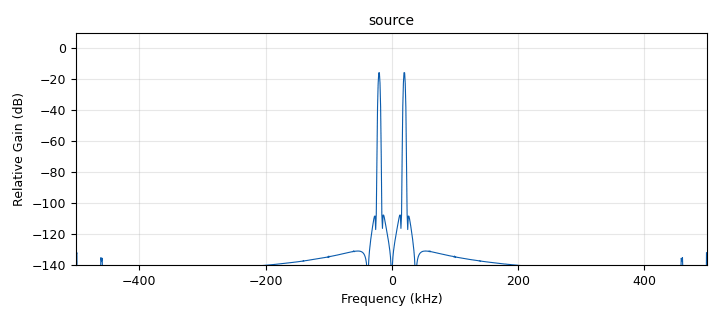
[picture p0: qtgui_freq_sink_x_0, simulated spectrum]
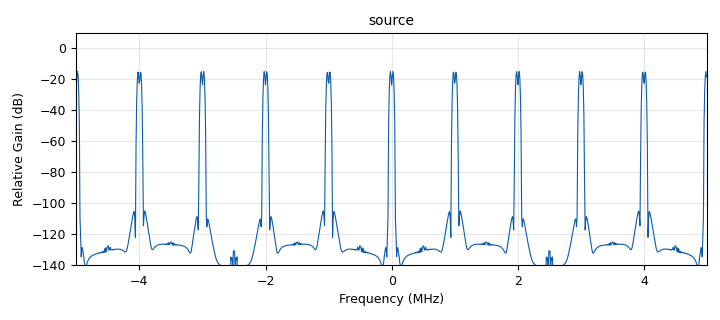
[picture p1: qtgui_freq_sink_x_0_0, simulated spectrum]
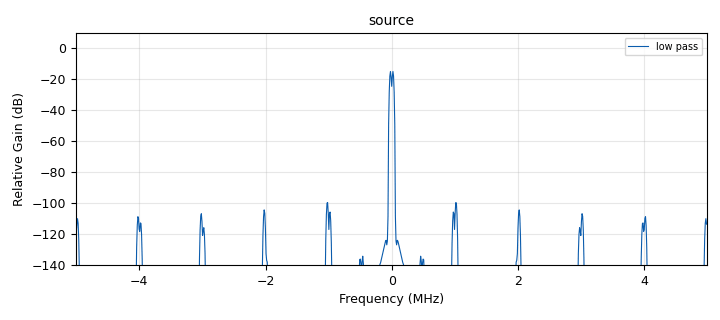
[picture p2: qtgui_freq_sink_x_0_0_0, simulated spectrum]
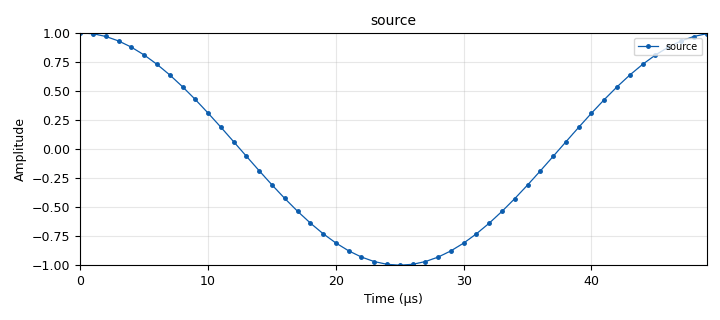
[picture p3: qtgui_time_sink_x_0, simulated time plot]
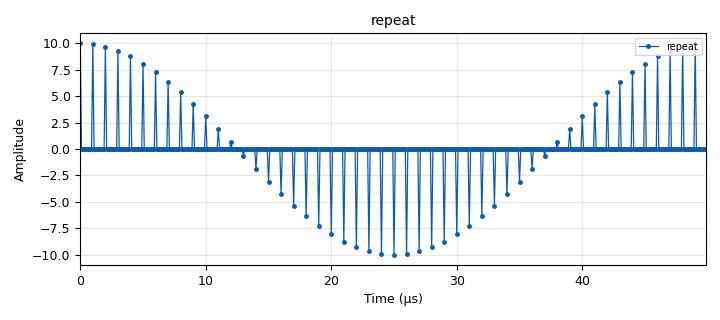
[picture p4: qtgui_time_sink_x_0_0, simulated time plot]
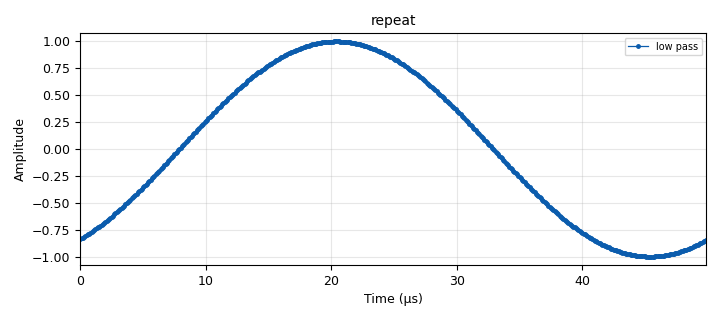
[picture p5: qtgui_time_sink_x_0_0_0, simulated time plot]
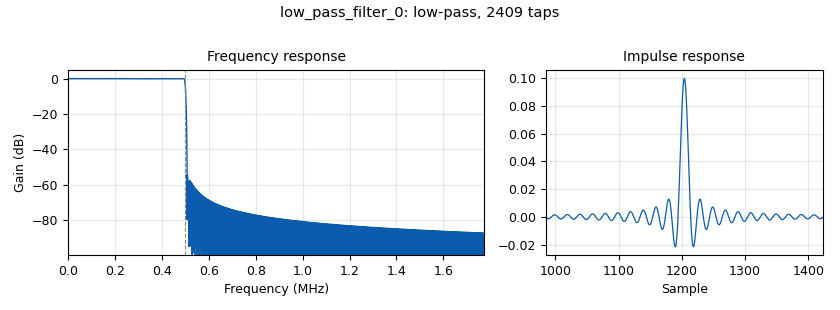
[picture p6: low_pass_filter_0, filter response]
options:
  parameters:
    generate_options: qt_gui
    id: sampling
    output_language: python
    title: 06_sampling
  states: {}

blocks:
- name: Frequency_kHz
  id: variable_qtgui_range
  parameters:
    gui_hint: 0,1,1,1
    start: '0'
    step: '1'
    stop: 10e3
    value: '20'
  states: {}
- name: Sampling_kHz
  id: variable_qtgui_range
  parameters:
    gui_hint: 0,0,1,1
    start: '0'
    step: '1'
    stop: '10000'
    value: '1000'
  states: {}
- name: samp_rate
  id: variable
  parameters:
    value: 1e6
  states: {}
- name: analog_sig_source_x_0
  id: analog_sig_source_x
  parameters:
    amp: '1'
    freq: Frequency_kHz*1000
    offset: '0'
    phase: '0'
    samp_rate: Sampling_kHz*1000
    type: float
    waveform: analog.GR_COS_WAVE
  states: {}
- name: blocks_repeat_0
  id: blocks_repeat
  parameters:
    interp: '10'
    type: float
  states: {state: disabled}
- name: blocks_throttle2_0
  id: blocks_throttle2
  parameters:
    samples_per_second: Sampling_kHz*1000
    type: float
  states: {}
- name: interp_fir_filter_xxx_0
  id: interp_fir_filter_xxx
  parameters:
    interp: '10'
    taps: '[10,0,0,0,0,0,0,0,0,0]'
    type: fff
  states: {}
- name: low_pass_filter_0
  id: low_pass_filter
  parameters:
    cutoff_freq: 500e3
    decim: '1'
    gain: '1'
    samp_rate: Sampling_kHz*1000*10
    type: fir_filter_fff
    width: 10e3
    win: window.WIN_HAMMING
  states: {}
- name: qtgui_freq_sink_x_0
  id: qtgui_freq_sink_x
  parameters:
    bw: Sampling_kHz*1000
    fc: '0'
    fftsize: '1024'
    gui_hint: 1,1,3,1
    name: '"source"'
    type: float
  states: {}
- name: qtgui_freq_sink_x_0_0
  id: qtgui_freq_sink_x
  parameters:
    bw: Sampling_kHz*1000*10
    fc: '0'
    fftsize: '1024'
    gui_hint: 4,1,3,1
    name: '"source"'
    type: float
  states: {}
- name: qtgui_freq_sink_x_0_0_0
  id: qtgui_freq_sink_x
  parameters:
    bw: Sampling_kHz*1000*10
    fc: '0'
    fftsize: '1024'
    gui_hint: 7,1,3,1
    label1: low pass
    name: '"source"'
    type: float
  states: {}
- name: qtgui_time_sink_x_0
  id: qtgui_time_sink_x
  parameters:
    gui_hint: 1,0,3,1
    label1: source
    marker1: '0'
    name: '"source"'
    size: '50'
    srate: Sampling_kHz*1000
    type: float
  states: {}
- name: qtgui_time_sink_x_0_0
  id: qtgui_time_sink_x
  parameters:
    autoscale: 'True'
    gui_hint: 4,0,3,1
    label1: repeat
    marker1: '2'
    name: '"repeat"'
    size: '500'
    srate: Sampling_kHz*1000*10
    type: float
  states: {}
- name: qtgui_time_sink_x_0_0_0
  id: qtgui_time_sink_x
  parameters:
    gui_hint: 7,0,3,1
    label1: low pass
    marker1: '2'
    name: '"repeat"'
    size: '500'
    srate: Sampling_kHz*1000*10
    type: float
  states: {}

connections:
- [analog_sig_source_x_0, '0', blocks_throttle2_0, '0']
- [blocks_repeat_0, '0', low_pass_filter_0, '0']
- [blocks_repeat_0, '0', qtgui_freq_sink_x_0_0, '0']
- [blocks_repeat_0, '0', qtgui_time_sink_x_0_0, '0']
- [blocks_throttle2_0, '0', blocks_repeat_0, '0']
- [blocks_throttle2_0, '0', interp_fir_filter_xxx_0, '0']
- [blocks_throttle2_0, '0', qtgui_freq_sink_x_0, '0']
- [blocks_throttle2_0, '0', qtgui_time_sink_x_0, '0']
- [interp_fir_filter_xxx_0, '0', low_pass_filter_0, '0']
- [interp_fir_filter_xxx_0, '0', qtgui_freq_sink_x_0_0, '0']
- [interp_fir_filter_xxx_0, '0', qtgui_time_sink_x_0_0, '0']
- [low_pass_filter_0, '0', qtgui_freq_sink_x_0_0_0, '0']
- [low_pass_filter_0, '0', qtgui_time_sink_x_0_0_0, '0']

metadata:
  file_format: 1
  grc_version: 3.10.9.2
